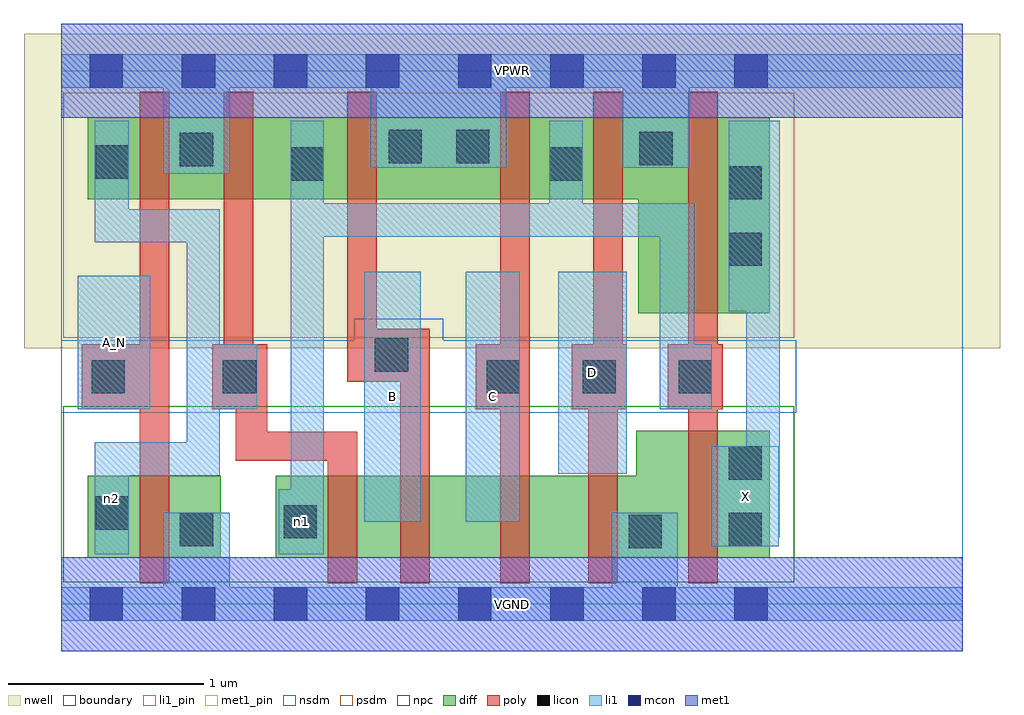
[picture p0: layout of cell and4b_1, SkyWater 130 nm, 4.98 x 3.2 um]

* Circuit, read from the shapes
.subckt and4b_1 A_N B C D VGND VPWR X n1 n2
XM1 VGND A_N n2 VSUBS sky130_fd_pr__nfet_01v8 w=0.42 l=0.15
XM2 n3 n2 n1 VSUBS sky130_fd_pr__nfet_01v8 w=0.42 l=0.15
XM3 n4 B n3 VSUBS sky130_fd_pr__nfet_01v8 w=0.42 l=0.15
XM4 n5 C n4 VSUBS sky130_fd_pr__nfet_01v8 w=0.42 l=0.15
XM5 VGND D n5 VSUBS sky130_fd_pr__nfet_01v8 w=0.42 l=0.15
XM6 X n1 VGND VSUBS sky130_fd_pr__nfet_01v8 w=0.65 l=0.15
XM7 VPWR A_N n2 n6 sky130_fd_pr__pfet_01v8 w=0.42 l=0.15
XM8 n1 n2 VPWR n6 sky130_fd_pr__pfet_01v8 w=0.42 l=0.15
XM9 VPWR B n1 n6 sky130_fd_pr__pfet_01v8 w=0.42 l=0.15
XM10 n1 C VPWR n6 sky130_fd_pr__pfet_01v8 w=0.42 l=0.15
XM11 VPWR D n1 n6 sky130_fd_pr__pfet_01v8 w=0.42 l=0.15
XM12 X n1 VPWR n6 sky130_fd_pr__pfet_01v8 w=1 l=0.15
.ends

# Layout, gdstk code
import gdstk
lib = gdstk.Library(unit=1e-6, precision=1e-09)
def R(c, l, rs):  # rectangles x0, y0, x1, y1
    for r in rs: c.add(gdstk.rectangle(r[:2], r[2:], *l))
def A(c, l, x, y, w, h, nx, ny, dx, dy):  # array of equal rectangles
    R(c, l, [(x+i*dx, y+j*dy, x+i*dx+w, y+j*dy+h) for i in range(nx) for j in range(ny)])
nwell = (64, 20)
diff = (65, 20)
poly = (66, 20)
licon = (66, 44)
li1_pin = (67, 16)
li1 = (67, 20)
mcon = (67, 44)
met1_pin = (68, 16)
met1 = (68, 20)
nsdm = (93, 44)
psdm = (94, 20)
npc = (95, 20)
boundary = (235, 4)

and4b_1 = lib.new_cell('and4b_1')
R(and4b_1, nwell, [(-0.19,1.305,4.79,2.91), (0,1.305,4.6,2.91)])
R(and4b_1, diff, [(0.135,0.235,0.815,0.655), (1.095,0.235,3.615,0.655), (2.935,0.235,3.615,0.885), (2.945,1.485,3.615,2.485), (0.135,2.065,3.615,2.485)])
R(and4b_1, poly, [(0.4,0.105,0.55,2.615), (1.36,0.105,1.51,0.88), (1.73,0.105,1.88,1.405), (2.24,0.105,2.39,2.615), (2.69,0.105,2.84,1.325), (3.2,0.105,3.35,2.615), (0.89,0.73,1.51,0.88), (0.89,0.73,1.05,1.325), (0.105,0.995,0.55,1.325), (0.77,0.995,1.05,1.325), (0.83,0.995,0.98,2.615), (2.115,0.995,2.39,1.325), (2.605,0.995,2.885,1.325), (2.715,0.995,2.865,2.615), (3.095,0.995,3.375,1.325), (1.46,1.135,1.61,2.615), (1.46,1.135,1.88,1.405)])
A(and4b_1, licon, 2.17, 1.075, 0.17, 0.17, 3, 1, 0.49, 0)
R(and4b_1, licon, [(2.895,0.285,3.065,0.455), (0.605,0.295,0.775,0.465), (3.405,0.295,3.575,0.465), (1.135,0.335,1.305,0.505), (0.175,0.38,0.345,0.55), (3.405,0.635,3.575,0.805), (0.155,1.075,0.325,1.245), (0.825,1.075,0.995,1.245), (1.6,1.185,1.77,1.355), (3.405,1.725,3.575,1.895), (3.405,2.065,3.575,2.235), (1.17,2.16,1.34,2.33), (2.49,2.16,2.66,2.33), (0.175,2.17,0.345,2.34), (0.605,2.235,0.775,2.405), (2.95,2.24,3.12,2.41), (1.67,2.25,1.84,2.42), (2.015,2.25,2.185,2.42)])
R(and4b_1, li1_pin, [(3.32,0.295,3.66,0.805), (1.545,0.42,1.835,1.695), (2.065,0.42,2.34,1.695), (2.535,0.665,2.885,1.695), (0.085,0.995,0.455,1.675)])
R(and4b_1, li1, [(0,-0.085,4.6,0.085), (0.52,-0.085,0.86,0.465), (2.81,-0.085,3.145,0.465), (0.17,0.255,0.345,0.825), (1.11,0.255,1.34,0.585), (1.17,0.255,1.34,2.465), (3.32,0.295,3.66,0.805), (3.495,0.34,3.665,2.465), (1.545,0.42,1.835,1.695), (2.065,0.42,2.34,1.695), (0.17,0.655,0.81,0.825), (0.64,0.655,0.81,2.015), (2.535,0.665,2.885,1.695), (0.085,0.995,0.455,1.675), (0.64,0.995,1,1.325), (3.055,0.995,3.23,2.045), (3.055,0.995,3.32,1.325), (3.405,1.495,3.665,2.465), (0.17,1.845,0.81,2.015), (0.17,1.845,0.345,2.465), (1.17,1.875,3.23,2.045), (2.49,1.875,2.66,2.465), (0.52,2.195,0.86,2.805), (1.58,2.225,2.27,2.805), (2.865,2.225,3.205,2.805), (0,2.635,4.6,2.805)])
A(and4b_1, mcon, 0.145, -0.085, 0.17, 0.17, 8, 2, 0.47, 2.72)
R(and4b_1, met1_pin, [(0,-0.24,4.6,0.24), (0,2.48,4.6,2.96)])
R(and4b_1, met1, [(0,-0.24,4.6,0.24), (0,2.48,4.6,2.96)])
R(and4b_1, nsdm, [(0.01,0.11,3.74,1.01)])
R(and4b_1, psdm, [(0.01,1.36,3.74,2.61)])
R(and4b_1, npc, [(0,0.975,3.75,1.345), (1.495,0.975,1.95,1.455)])
R(and4b_1, boundary, [(0,0,4.6,2.72)])
and4b_1.add(gdstk.Label('A_N', (0.27,1.335), layer=67, texttype=5))
and4b_1.add(gdstk.Label('B', (1.69,1.057), layer=67, texttype=5))
and4b_1.add(gdstk.Label('C', (2.202,1.057), layer=67, texttype=5))
and4b_1.add(gdstk.Label('D', (2.71,1.18), layer=67, texttype=5))
and4b_1.add(gdstk.Label('X', (3.49,0.55), layer=67, texttype=5))
and4b_1.add(gdstk.Label('n2', (0.257,0.54), layer=67, texttype=5))
and4b_1.add(gdstk.Label('n1', (1.225,0.42), layer=67, texttype=5))
and4b_1.add(gdstk.Label('VPWR', (2.3,2.72), layer=68, texttype=5))
and4b_1.add(gdstk.Label('VGND', (2.3,0), layer=68, texttype=5))
and4b_1.add(gdstk.Label('A_N', (0.27,1.335), layer=67, texttype=16))
and4b_1.add(gdstk.Label('B', (1.69,1.057), layer=67, texttype=16))
and4b_1.add(gdstk.Label('C', (2.202,1.057), layer=67, texttype=16))
and4b_1.add(gdstk.Label('D', (2.71,1.18), layer=67, texttype=16))
and4b_1.add(gdstk.Label('X', (3.49,0.55), layer=67, texttype=16))
and4b_1.add(gdstk.Label('VPWR', (2.3,2.72), layer=68, texttype=16))
and4b_1.add(gdstk.Label('VGND', (2.3,0), layer=68, texttype=16))

lib.write_gds('and4b_1.gds')
